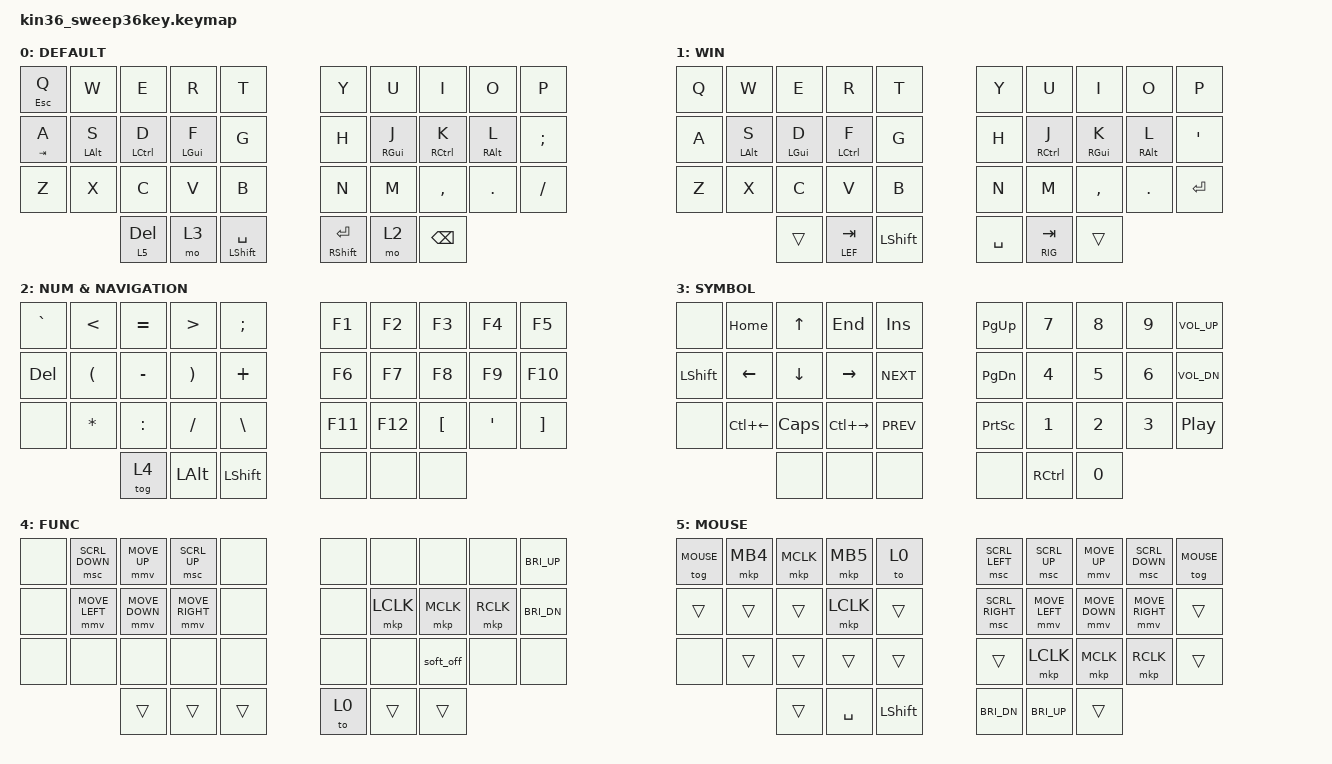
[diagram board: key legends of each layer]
// Copyright (c) 2022 The ZMK Contributors
// SPDX-License-Identifier: MIT

#define ZMK_POINTING_DEFAULT_MOVE_VAL 2500  // 600
#define ZMK_POINTING_DEFAULT_SCRL_VAL 20    // 10

#include <behaviors.dtsi>
#include <dt-bindings/zmk/keys.h>
#include <dt-bindings/zmk/pointing.h>

#define MAC 0
#define WIN 1
#define RIG 2
#define LEF 3
#define TRI 4
#define MOUSE 5

// https://zmk.dev/docs/development/hardware-integration/soft-off-setup?advanced-methods=wakeup&kscan-type=dkscan

/ {
    keys {
        compatible = "gpio-keys";

        soft_off_gpio_key: soft_off_gpio_key { gpios = <&gpio1 6 (GPIO_ACTIVE_LOW | GPIO_PULL_UP)>; };
    };

    wakeup_scan: wakeup_scan {
        compatible = "zmk,kscan-gpio-direct";
        input-keys = <&soft_off_gpio_key>;
        wakeup-source;
    };

    side_band_behavior_triggers: side_band_behavior_triggers {
        compatible = "zmk,kscan-sideband-behaviors";
        kscan = <&wakeup_scan>;
        auto-enable;
        wakeup-source;
    };

    soft_off_wakers {
        compatible = "zmk,soft-off-wakeup-sources";
        wakeup-sources = <&wakeup_scan>;
    };
};

/ {
    // chosen { zmk,charmap = &charmap_us; };

    behaviors {
        ht: hold_tap {
            label = "hold_tap";
            compatible = "zmk,behavior-hold-tap";
            #binding-cells = <2>;
            flavor = "tap-preferred";
            tapping-term-ms = <220>;
            quick-tap-ms = <150>;
            global-quick-tap;
            bindings = <&kp>, <&kp>;
        };

        mmv {
            acceleration-exponent = <1>;      // 1
            time-to-max-speed-ms = <300>;    // 40
            delay-ms = <0>;                   // 0
        };

        msc {
            acceleration-exponent = <0>;      // 0
            time-to-max-speed-ms = <40>;      // 500
            delay-ms = <0>;                   // 10
        };
    };

    conditional_layers {
        compatible = "zmk,conditional-layers";

        tri_layer {
            if-layers = <RIG LEF>;
            then-layer = <TRI>;
        };
    };

    keymap {
        compatible = "zmk,keymap";

        default_layer {
            display-name = "DEFAULT";
            bindings = <
  &ht ESCAPE Q  &kp W       &kp E        &kp R       &kp T                   &kp Y                  &kp U       &kp I        &kp O       &kp P
  &ht TAB A     &ht LALT S  &ht LCTRL D  &ht LGUI F  &kp G                   &kp H                  &ht RGUI J  &ht RCTRL K  &ht RALT L  &kp SEMICOLON
  &kp Z         &kp X       &kp C        &kp V       &kp B                   &kp N                  &kp M       &kp COMMA    &kp DOT     &kp FSLH
                            &lt 5 DEL    &mo 3       &ht LEFT_SHIFT SPACE    &ht RIGHT_SHIFT ENTER  &mo 2       &kp BSPC
            >;
        };

        windows_layer {
            display-name = "WIN";
            bindings = <
  &kp Q  &kp W       &kp E       &kp R        &kp T         &kp Y      &kp U        &kp I       &kp O       &kp P
  &kp A  &ht LALT S  &ht LGUI D  &ht LCTRL F  &kp G         &kp H      &ht RCTRL J  &ht RGUI K  &ht RALT L  &kp APOS
  &kp Z  &kp X       &kp C       &kp V        &kp B         &kp N      &kp M        &kp COMMA   &kp DOT     &kp ENTER
                     &trans      &lt LEF TAB  &kp LSHIFT    &kp SPACE  &lt RIG TAB  &trans
            >;
        };

        right_layer {
            display-name = "NUM & NAVIGATION";
            bindings = <
  &kp GRAVE  &kp LESS_THAN  &kp EQUAL  &kp GREATER_THAN  &kp SEMICOLON     &kp F1   &kp F2   &kp F3            &kp F4          &kp F5
  &kp DEL    &kp LPAR       &kp MINUS  &kp RPAR          &kp PLUS          &kp F6   &kp F7   &kp F8            &kp F9          &kp F10
  &none      &kp ASTERISK   &kp COLON  &kp SLASH         &kp BACKSLASH     &kp F11  &kp F12  &kp LEFT_BRACKET  &kp APOSTROPHE  &kp RIGHT_BRACKET
                            &tog 4     &kp LEFT_ALT      &kp LEFT_SHIFT    &none    &none    &none
            >;
        };

        left_layer {
            display-name = "SYMBOL";
            bindings = <
  &none           &kp HOME        &kp UP_ARROW    &kp END          &kp INSERT    &kp PAGE_UP      &kp N7     &kp N8  &kp N9  &kp C_VOLUME_UP
  &kp LEFT_SHIFT  &kp LEFT_ARROW  &kp DOWN_ARROW  &kp RIGHT_ARROW  &kp C_NEXT    &kp PAGE_DOWN    &kp N4     &kp N5  &kp N6  &kp C_VOL_DN
  &none           &kp LC(LEFT)    &kp CLCK        &kp LC(RIGHT)    &kp C_PREV    &kp PRINTSCREEN  &kp N1     &kp N2  &kp N3  &kp C_PLAY_PAUSE
                                  &none           &none            &none         &none            &kp RCTRL  &kp N0
            >;
        };

        tri_layer {
            display-name = "FUNC";
            bindings = <
  &none  &msc SCRL_DOWN  &mmv MOVE_UP    &msc SCRL_UP     &none     &none  &none      &none      &none      &kp C_BRI_UP
  &none  &mmv MOVE_LEFT  &mmv MOVE_DOWN  &mmv MOVE_RIGHT  &none     &none  &mkp LCLK  &mkp MCLK  &mkp RCLK  &kp C_BRI_DN
  &none  &none           &none           &none            &none     &none  &none      &soft_off  &none      &none
                         &trans          &trans           &trans    &to 0  &trans     &trans
            >;
        };

        mouse {
            display-name = "MOUSE";
            bindings = <
  &tog MOUSE  &mkp MB4  &mkp MCLK  &mkp MB5   &to 0         &msc SCRL_LEFT   &msc SCRL_UP    &mmv MOVE_UP    &msc SCRL_DOWN   &tog MOUSE
  &trans      &trans    &trans     &mkp LCLK  &trans        &msc SCRL_RIGHT  &mmv MOVE_LEFT  &mmv MOVE_DOWN  &mmv MOVE_RIGHT  &trans
  &none       &trans    &trans     &trans     &trans        &trans           &mkp LCLK       &mkp MCLK       &mkp RCLK        &trans
                        &trans     &kp SPACE  &kp LSHIFT    &kp C_BRI_DN     &kp C_BRI_UP    &trans
            >;
        };
    };
};
